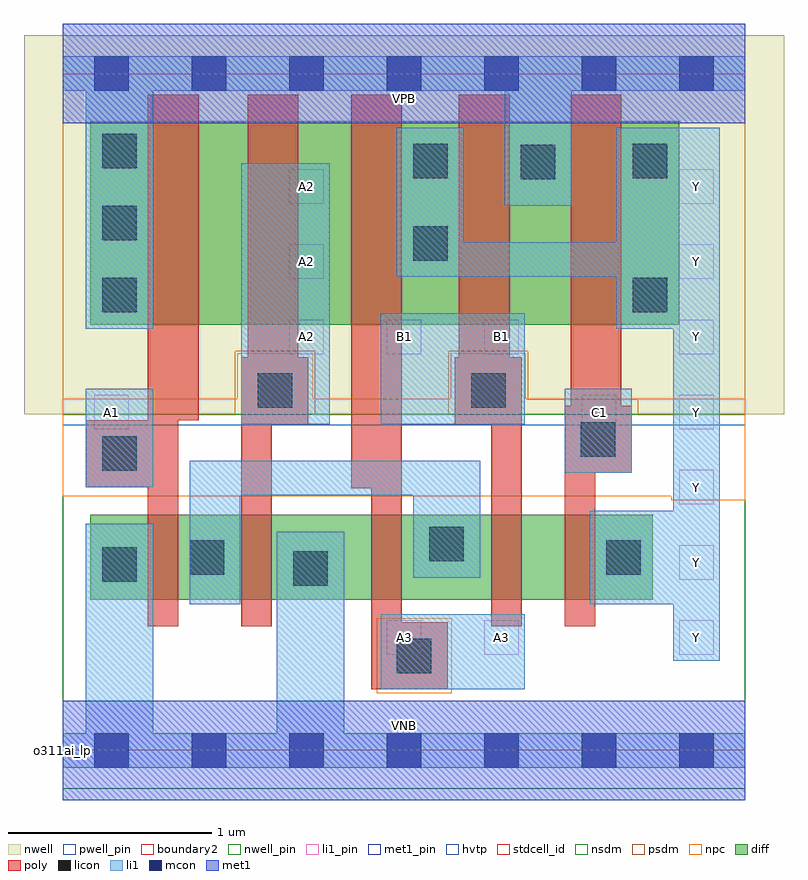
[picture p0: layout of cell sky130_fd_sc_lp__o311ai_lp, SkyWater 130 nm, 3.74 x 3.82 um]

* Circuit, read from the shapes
.subckt sky130_fd_sc_lp__o311ai_lp A1 A2 A3 B1 C1 VGND VNB VPB VPWR Y
XM1 n1 A1 VGND VNB sky130_fd_pr__nfet_01v8 w=0.42 l=0.15
XM2 VGND A2 n1 VNB sky130_fd_pr__nfet_01v8 w=0.42 l=0.15
XM3 n1 A3 VGND VNB sky130_fd_pr__nfet_01v8 w=0.42 l=0.15
XM4 n2 B1 n1 VNB sky130_fd_pr__nfet_01v8 w=0.42 l=0.15
XM5 Y C1 n2 VNB sky130_fd_pr__nfet_01v8 w=0.42 l=0.15
XM6 n3 A1 VPWR VPB sky130_fd_pr__pfet_01v8_hvt w=1 l=0.25
XM7 n4 A2 n3 VPB sky130_fd_pr__pfet_01v8_hvt w=1 l=0.25
XM8 Y A3 n4 VPB sky130_fd_pr__pfet_01v8_hvt w=1 l=0.25
XM9 VPWR B1 Y VPB sky130_fd_pr__pfet_01v8_hvt w=1 l=0.25
XM10 Y C1 VPWR VPB sky130_fd_pr__pfet_01v8_hvt w=1 l=0.25
.ends

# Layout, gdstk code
import gdstk
lib = gdstk.Library(unit=1e-6, precision=1e-09)
def R(c, l, rs):  # rectangles x0, y0, x1, y1
    for r in rs: c.add(gdstk.rectangle(r[:2], r[2:], *l))
def A(c, l, x, y, w, h, nx, ny, dx, dy):  # array of equal rectangles
    R(c, l, [(x+i*dx, y+j*dy, x+i*dx+w, y+j*dy+h) for i in range(nx) for j in range(ny)])
def P(c, l, *ps):  # polygons
    for p in ps: c.add(gdstk.Polygon(p, *l))
nwell_pin = (64, 16)
nwell = (64, 20)
diff = (65, 20)
poly = (66, 20)
licon = (66, 44)
li1_pin = (67, 16)
li1 = (67, 20)
mcon = (67, 44)
met1_pin = (68, 16)
met1 = (68, 20)
hvtp = (78, 44)
stdcell_id = (81, 4)
nsdm = (93, 44)
psdm = (94, 20)
npc = (95, 20)
pwell_pin = (122, 16)
boundary2 = (236, 0)

sky130_fd_sc_lp__o311ai_ = lib.new_cell('sky130_fd_sc_lp__o311ai_lp')
R(sky130_fd_sc_lp__o311ai_, nwell_pin, [(0,3.085,3.36,3.33)])
R(sky130_fd_sc_lp__o311ai_, nwell, [(-0.19,1.655,3.55,3.52)])
R(sky130_fd_sc_lp__o311ai_, diff, [(0.135,0.74,2.905,1.16), (0.135,2.095,3.035,3.095)])
P(sky130_fd_sc_lp__o311ai_, poly, [(0.67,3.225),(0.42,3.225),(0.42,1.625),(0.115,1.625),(0.115,1.295),(0.42,1.295),(0.42,0.61),(0.57,0.61),(0.57,1.625),(0.67,1.625)],
  [(1.21,1.935),(1.16,1.935),(1.16,3.225),(0.91,3.225),(0.91,1.935),(0.88,1.935),(0.88,0.61),(1.03,0.61),(1.03,1.605),(1.21,1.605)],
  [(1.895,0.63),(1.67,0.63),(1.67,3.225),(1.42,3.225),(1.42,1.29),(1.52,1.29),(1.52,0.3),(1.895,0.3)],
  [(2.26,1.935),(2.2,1.935),(2.2,3.225),(1.95,3.225),(1.95,1.935),(1.93,1.935),(1.93,1.605),(2.11,1.605),(2.11,0.61),(2.26,0.61)],
  [(2.8,1.695),(2.75,1.695),(2.75,3.225),(2.5,3.225),(2.5,1.695),(2.47,1.695),(2.47,0.61),(2.62,0.61),(2.62,1.365),(2.8,1.365)])
A(sky130_fd_sc_lp__o311ai_, licon, 0.195, 2.155, 0.17, 0.17, 1, 3, 0, 0.355)
R(sky130_fd_sc_lp__o311ai_, licon, [(1.645,0.38,1.815,0.55), (1.135,0.81,1.305,0.98), (0.195,0.83,0.365,1), (0.625,0.865,0.795,1.035), (2.675,0.865,2.845,1.035), (1.805,0.93,1.975,1.1), (0.195,1.375,0.365,1.545), (2.55,1.445,2.72,1.615), (0.96,1.685,1.13,1.855), (2.01,1.685,2.18,1.855), (2.805,2.155,2.975,2.325), (1.725,2.41,1.895,2.58), (2.255,2.81,2.425,2.98), (1.725,2.815,1.895,2.985), (2.805,2.815,2.975,2.985)])
A(sky130_fd_sc_lp__o311ai_, li1_pin, 3.035, 0.47, 0.17, 0.17, 1, 7, 0, 0.37)
A(sky130_fd_sc_lp__o311ai_, li1_pin, 1.115, 1.95, 0.17, 0.17, 3, 1, 0.48, 0)
R(sky130_fd_sc_lp__o311ai_, li1_pin, [(1.595,0.47,1.765,0.64), (2.075,0.47,2.245,0.64), (0.155,1.58,0.325,1.75), (2.555,1.58,2.725,1.75), (1.115,2.32,1.285,2.49), (1.115,2.69,1.285,2.86)])
R(sky130_fd_sc_lp__o311ai_, li1, [(1.565,0.3,2.275,0.67), (0.115,1.295,0.445,1.78), (2.47,1.365,2.8,1.78), (0.88,1.605,1.315,2.89), (1.565,1.605,2.275,2.15)])
P(sky130_fd_sc_lp__o311ai_, li1, [(0.115,2.075),(0.115,3.245),(0,3.245),(0,3.415),(3.36,3.415),(3.36,3.245),(2.505,3.245),(2.505,2.68),(2.175,2.68),(2.175,3.245),(0.445,3.245),(0.445,2.075)],
  [(0.115,0.085),(0.115,1.115),(0.445,1.115),(0.445,0.085),(1.055,0.085),(1.055,1.075),(1.385,1.075),(1.385,0.085),(3.36,0.085),(3.36,-0.085),(0,-0.085),(0,0.085)],
  [(2.725,2.075),(2.725,2.33),(1.645,2.33),(1.645,3.065),(1.975,3.065),(1.975,2.5),(2.725,2.5),(2.725,3.065),(3.235,3.065),(3.235,0.44),(3.005,0.44),(3.005,0.72),(2.595,0.72),(2.595,1.18),(3.005,1.18),(3.005,2.075)],
  [(1.725,0.85),(1.725,1.255),(0.875,1.255),(0.875,0.72),(0.625,0.72),(0.625,1.425),(2.055,1.425),(2.055,0.85)])
A(sky130_fd_sc_lp__o311ai_, mcon, 0.155, -0.085, 0.17, 0.17, 7, 2, 0.48, 3.33)
R(sky130_fd_sc_lp__o311ai_, met1_pin, [(0,0,3.36,0.245), (0,3.085,3.36,3.33)])
R(sky130_fd_sc_lp__o311ai_, met1, [(0,-0.245,3.36,0.245), (0,3.085,3.36,3.575)])
R(sky130_fd_sc_lp__o311ai_, hvtp, [(0,1.6,3.36,3.33)])
R(sky130_fd_sc_lp__o311ai_, stdcell_id, [(0,0,3.36,3.33)])
R(sky130_fd_sc_lp__o311ai_, nsdm, [(0,-0.19,3.36,1.655)])
P(sky130_fd_sc_lp__o311ai_, psdm, [(3.36,3.52),(0,3.52),(0,1.655),(0.85,1.655),(0.85,1.965),(1.24,1.965),(1.24,1.655),(1.9,1.655),(1.9,1.965),(2.29,1.965),(2.29,1.725),(2.83,1.725),(2.83,1.655),(3.36,1.655)])
R(sky130_fd_sc_lp__o311ai_, npc, [(1.545,0.28,1.915,0.65)])
P(sky130_fd_sc_lp__o311ai_, npc, [(3.36,1.73),(2.28,1.73),(2.28,1.955),(1.91,1.955),(1.91,1.73),(1.23,1.73),(1.23,1.955),(0.86,1.955),(0.86,1.73),(0,1.73),(0,1.25),(2.995,1.25),(2.995,1.23),(3.36,1.23)])
R(sky130_fd_sc_lp__o311ai_, pwell_pin, [(0,0,3.36,0.245)])
R(sky130_fd_sc_lp__o311ai_, boundary2, [(0,0,3.36,3.33)])
sky130_fd_sc_lp__o311ai_.add(gdstk.Label('VNB', (1.68,0.123), layer=64, texttype=59))
sky130_fd_sc_lp__o311ai_.add(gdstk.Label('VPB', (1.68,3.208), layer=64, texttype=5))
sky130_fd_sc_lp__o311ai_.add(gdstk.Label('o311ai_lp', (0,0), layer=83, texttype=44))
sky130_fd_sc_lp__o311ai_.add(gdstk.Label('VPWR', (1.68,3.208), layer=68, texttype=5))
sky130_fd_sc_lp__o311ai_.add(gdstk.Label('VGND', (1.68,0.123), layer=68, texttype=5))
sky130_fd_sc_lp__o311ai_.add(gdstk.Label('C1', (2.64,1.665), layer=67, texttype=5))
sky130_fd_sc_lp__o311ai_.add(gdstk.Label('B1', (1.68,2.035), layer=67, texttype=5))
sky130_fd_sc_lp__o311ai_.add(gdstk.Label('B1', (2.16,2.035), layer=67, texttype=5))
sky130_fd_sc_lp__o311ai_.add(gdstk.Label('A3', (1.68,0.555), layer=67, texttype=5))
sky130_fd_sc_lp__o311ai_.add(gdstk.Label('A3', (2.16,0.555), layer=67, texttype=5))
sky130_fd_sc_lp__o311ai_.add(gdstk.Label('A2', (1.2,2.035), layer=67, texttype=5))
sky130_fd_sc_lp__o311ai_.add(gdstk.Label('A2', (1.2,2.405), layer=67, texttype=5))
sky130_fd_sc_lp__o311ai_.add(gdstk.Label('A2', (1.2,2.775), layer=67, texttype=5))
sky130_fd_sc_lp__o311ai_.add(gdstk.Label('Y', (3.12,0.555), layer=67, texttype=5))
sky130_fd_sc_lp__o311ai_.add(gdstk.Label('Y', (3.12,0.925), layer=67, texttype=5))
sky130_fd_sc_lp__o311ai_.add(gdstk.Label('Y', (3.12,1.295), layer=67, texttype=5))
sky130_fd_sc_lp__o311ai_.add(gdstk.Label('Y', (3.12,1.665), layer=67, texttype=5))
sky130_fd_sc_lp__o311ai_.add(gdstk.Label('Y', (3.12,2.035), layer=67, texttype=5))
sky130_fd_sc_lp__o311ai_.add(gdstk.Label('Y', (3.12,2.405), layer=67, texttype=5))
sky130_fd_sc_lp__o311ai_.add(gdstk.Label('Y', (3.12,2.775), layer=67, texttype=5))
sky130_fd_sc_lp__o311ai_.add(gdstk.Label('A1', (0.24,1.665), layer=67, texttype=5))

lib.write_gds('sky130_fd_sc_lp__o311ai_lp.gds')
